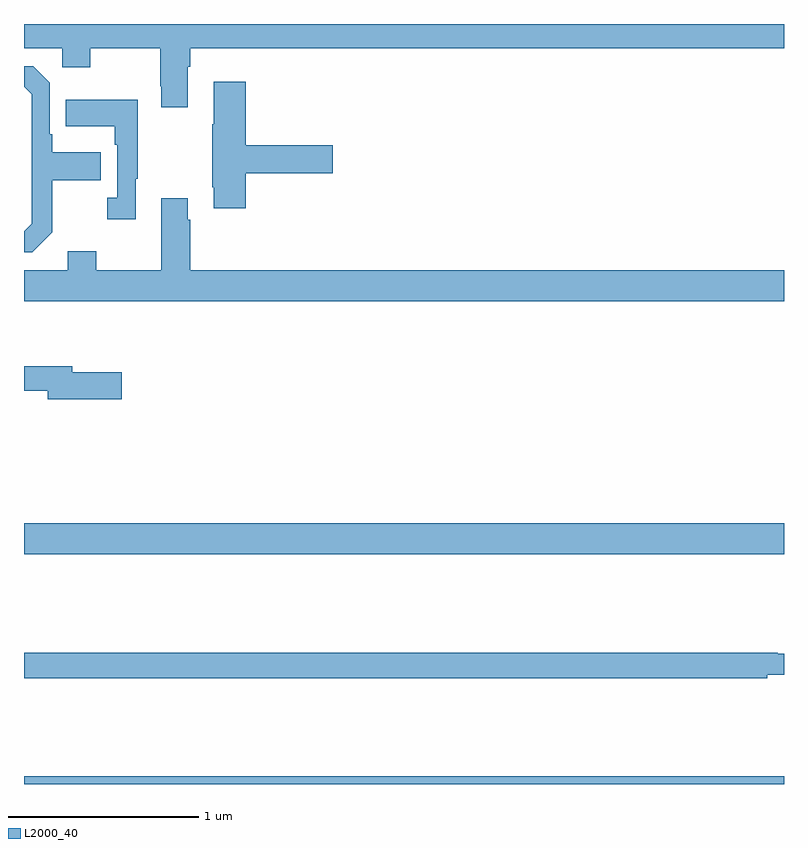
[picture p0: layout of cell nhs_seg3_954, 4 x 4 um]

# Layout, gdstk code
import gdstk
lib = gdstk.Library(unit=1e-6, precision=1e-09)
def R(c, l, rs):  # rectangles x0, y0, x1, y1
    for r in rs: c.add(gdstk.rectangle(r[:2], r[2:], *l))
def P(c, l, *ps):  # polygons
    for p in ps: c.add(gdstk.Polygon(p, *l))
L2000_40 = (2000, 40)

nhs_seg3_954 = lib.new_cell('nhs_seg3_954')
R(nhs_seg3_954, L2000_40, [(161,674.4,165,674.44), (161,675.608,165,675.772)])
P(nhs_seg3_954, L2000_40, [(161.863,678.176),(161.876,678.176),(161.876,678.272),(165,678.272),(165,678.4),(161,678.4),(161,678.272),(161.202,678.272),(161.202,678.173),(161.349,678.173),(161.349,678.272),(161.716,678.272),(161.716,678.073),(161.723,678.073),(161.723,677.961),(161.863,677.961)],
  [(161.149,677.305),(161.149,677.578),(161.405,677.578),(161.405,677.725),(161.149,677.725),(161.149,677.821),(161.136,677.821),(161.136,678.09),(161.049,678.177),(161,678.177),(161,678.07),(161.04,678.03),(161.04,677.349),(161,677.309),(161,677.199),(161.043,677.199)],
  [(162.167,677.615),(162.625,677.615),(162.625,677.762),(162.167,677.762),(162.167,678.097),(161.999,678.097),(161.999,677.873),(161.992,677.873),(161.992,677.542),(161.999,677.542),(161.999,677.43),(162.167,677.43)],
  [(161.587,677.585),(161.599,677.585),(161.599,678.001),(161.221,678.001),(161.221,677.861),(161.478,677.861),(161.478,677.765),(161.49,677.765),(161.49,677.486),(161.439,677.486),(161.439,677.373),(161.587,677.373)],
  [(165,677.104),(161.876,677.104),(161.876,677.369),(161.863,677.369),(161.863,677.482),(161.723,677.482),(161.723,677.104),(161.379,677.104),(161.379,677.203),(161.231,677.203),(161.231,677.104),(161,677.104),(161,676.94),(165,676.94)],
  [(161.515,676.566),(161.254,676.566),(161.254,676.6),(161,676.6),(161,676.471),(161.126,676.471),(161.126,676.424),(161.515,676.424)],
  [(164.912,674.975),(165,674.975),(165,675.085),(164.968,675.085),(164.968,675.092),(161,675.092),(161,674.956),(164.912,674.956)])

lib.write_gds('nhs_seg3_954.gds')
